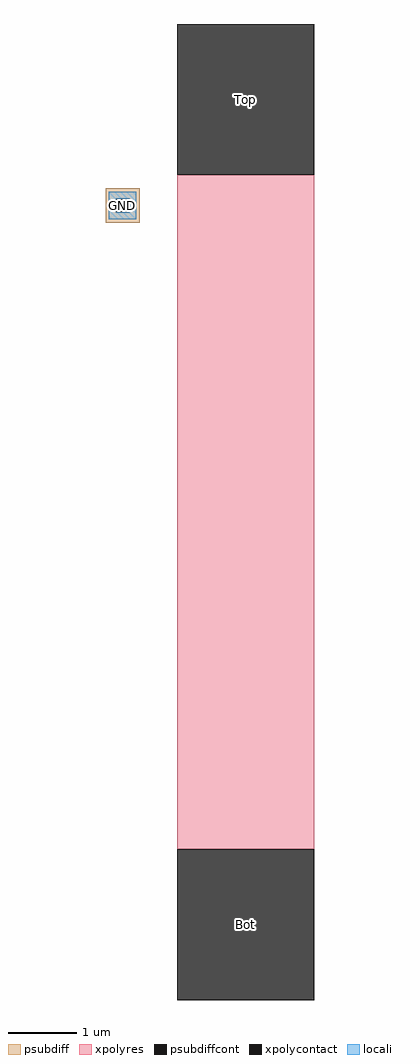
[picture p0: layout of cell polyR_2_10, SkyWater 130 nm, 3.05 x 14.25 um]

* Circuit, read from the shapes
.subckt polyR_2_10 Top Bot GND
XR1 Top Bot GND sky130_fd_pr__res_xhigh_po w=2 l=9.85
.ends

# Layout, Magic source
magic
tech sky130A
<< psubdiff >>
rect -105 950 -55 965
rect -105 930 -90 950
rect -70 930 -55 950
rect -105 915 -55 930
<< psubdiffcont >>
rect -90 930 -70 950
<< xpolycontact >>
rect 0 985 200 1205
rect 0 -220 200 0
<< xpolyres >>
rect 0 0 200 985
<< locali >>
rect -100 950 -60 960
rect -100 930 -90 950
rect -70 930 -60 950
rect -100 920 -60 930
<< labels >>
rlabel locali 0 -220 200 0 1 Bot
port 2 n
rlabel locali -100 920 -60 960 1 GND
port 3 n
rlabel locali 0 985 200 1205 1 Top
port 1 n
<< end >>
